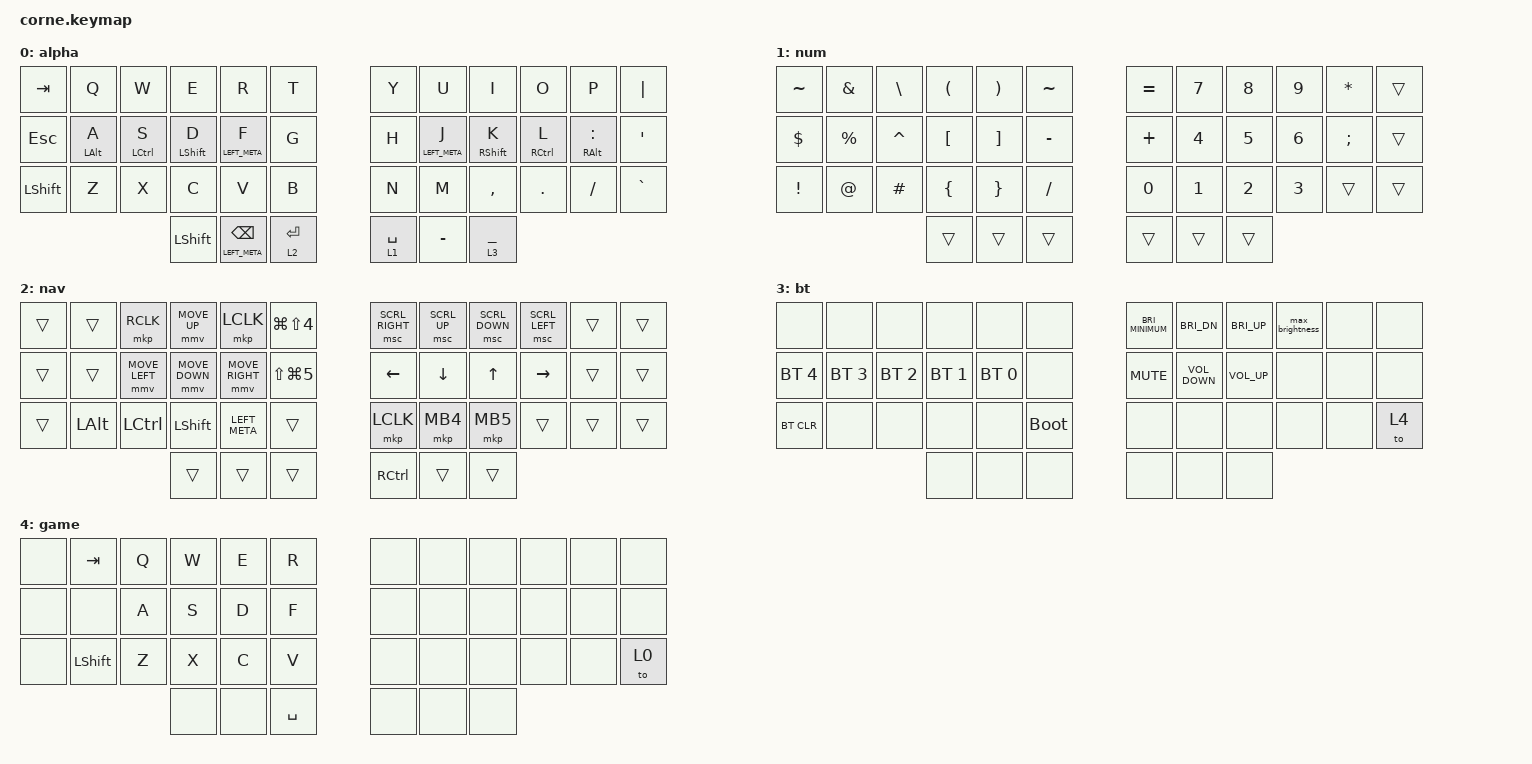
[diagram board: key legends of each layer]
/*
 * Copyright (c) 2020 The ZMK Contributors
 *
 * SPDX-License-Identifier: MIT
 */

#include <behaviors.dtsi>
#include <dt-bindings/zmk/bt.h>
#include <dt-bindings/zmk/keys.h>
#include <dt-bindings/zmk/pointing.h>

#define DEFAULT_L 0
#define SYMBOLS_L 1
#define ARROWS_L  2
#define NUMBERS_L 3

/ {
    behaviors {
        hm: homerow_mods {
            compatible = "zmk,behavior-hold-tap";
            label = "HOMEROW_MODS";
            #binding-cells = <2>;
            tapping-term-ms = <300>;
            quick-tap-ms = <300>;
            flavor = "tap-preferred";
            bindings = <&kp>, <&kp>;
        };
    };

    macros {
        max_brightness: max_brightness {
            compatible = "zmk,behavior-macro";
            #binding-cells = <0>;
            bindings = <&kp C_BRI_UP &kp C_BRI_UP &kp C_BRI_UP &kp C_BRI_UP &kp C_BRI_UP &kp C_BRI_UP &kp C_BRI_UP &kp C_BRI_UP &kp C_BRI_UP &kp C_BRIGHTNESS_INC &kp C_BRI_UP &kp C_BRI_UP>;
            label = "MAX_BRIGHTNESS";
        };
    };

    keymap {
        compatible = "zmk,keymap";

        default_layer {
            label = "alpha";
            bindings = <
&kp TAB         &kp Q           &kp W               &kp E             &kp R                    &kp T          &kp Y        &kp U            &kp I              &kp O                &kp P                &kp PIPE
&kp ESC         &hm LEFT_ALT A  &hm LEFT_CONTROL S  &hm LEFT_SHIFT D  &hm LEFT_META F          &kp G          &kp H        &hm LEFT_META J  &hm RIGHT_SHIFT K  &hm RIGHT_CONTROL L  &hm RIGHT_ALT COLON  &kp SQT
&kp LEFT_SHIFT  &kp Z           &kp X               &kp C             &kp V                    &kp B          &kp N        &kp M            &kp COMMA          &kp DOT              &kp FSLH             &kp GRAVE
                                                    &kp LEFT_SHIFT    &mt LEFT_META BACKSPACE  &lt 2 ENTER    &lt 1 SPACE  &kp MINUS        &lt 3 UNDER
            >;
        };

        number_layer {
            label = "num";
            bindings = <
&kp TILDE        &kp AMPERSAND  &kp BACKSLASH  &kp LEFT_PARENTHESIS  &kp RIGHT_PARENTHESIS  &kp TILDE    &kp EQUAL  &kp N7        &kp N8        &kp N9        &kp ASTERISK   &trans
&kp DOLLAR       &kp PERCENT    &kp CARET      &kp LEFT_BRACKET      &kp RIGHT_BRACKET      &kp MINUS    &kp PLUS   &kp NUMBER_4  &kp N5        &kp NUMBER_6  &kp SEMICOLON  &trans
&kp EXCLAMATION  &kp AT_SIGN    &kp HASH       &kp LEFT_BRACE        &kp RIGHT_BRACE        &kp SLASH    &kp N0     &kp NUMBER_1  &kp NUMBER_2  &kp NUMBER_3  &trans         &trans
                                               &trans                &trans                 &trans       &trans     &trans        &trans
            >;
        };

        arrow_layer {
            label = "nav";
            bindings = <
&trans  &trans        &mkp RCLK         &mmv MOVE_UP    &mkp LCLK        &kp LG(LS(NUMBER_4))    &msc SCRL_RIGHT    &msc SCRL_UP    &msc SCRL_DOWN  &msc SCRL_LEFT   &trans  &trans
&trans  &trans        &mmv MOVE_LEFT    &mmv MOVE_DOWN  &mmv MOVE_RIGHT  &kp LS(LG(N5))          &kp LEFT_ARROW     &kp DOWN_ARROW  &kp UP_ARROW    &kp RIGHT_ARROW  &trans  &trans
&trans  &kp LEFT_ALT  &kp LEFT_CONTROL  &kp LSHIFT      &kp LEFT_META    &trans                  &mkp LCLK          &mkp MB4        &mkp MB5        &trans           &trans  &trans
                                        &trans          &trans           &trans                  &kp RIGHT_CONTROL  &trans          &trans
            >;
        };

        bt_layer {
            label = "bt";
            bindings = <
&none         &none         &none         &none         &none         &none          &kp C_BRIGHTNESS_MINIMUM  &kp C_BRI_DN       &kp C_BRI_UP     &max_brightness  &none  &none
&bt BT_SEL 4  &bt BT_SEL 3  &bt BT_SEL 2  &bt BT_SEL 1  &bt BT_SEL 0  &none          &kp K_MUTE                &kp C_VOLUME_DOWN  &kp C_VOLUME_UP  &none            &none  &none
&bt BT_CLR    &none         &none         &none         &none         &bootloader    &none                     &none              &none            &none            &none  &to 4
                                          &none         &none         &none          &none                     &none              &none
            >;
        };

        game_layer {
            bindings = <
&none  &kp TAB         &kp Q  &kp W  &kp E  &kp R        &none  &none  &none  &none  &none  &none
&none  &none           &kp A  &kp S  &kp D  &kp F        &none  &none  &none  &none  &none  &none
&none  &kp LEFT_SHIFT  &kp Z  &kp X  &kp C  &kp V        &none  &none  &none  &none  &none  &to 0
                              &none  &none  &kp SPACE    &none  &none  &none
            >;

            label = "game";
        };
    };

    conditional_layers { compatible = "zmk,conditional-layers"; };
};
